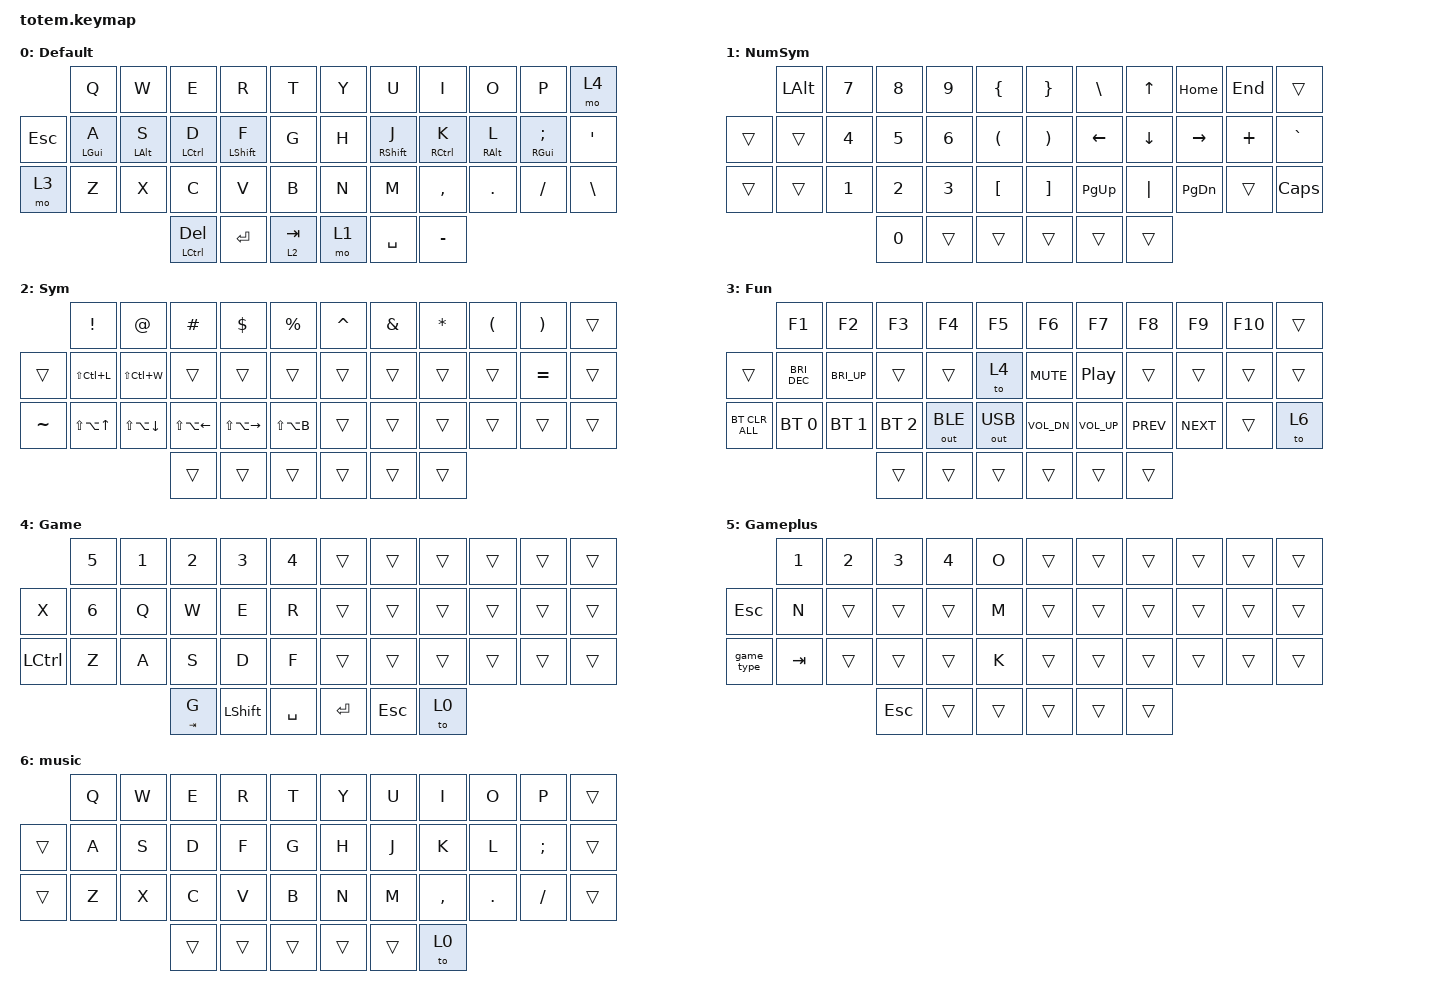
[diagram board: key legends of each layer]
//
//                                                        ▀▀▀▀▀     ▀▀▀▀▀          ▀▀█▀▀
//                                                        ▄▀▀▀▄  ▄  ▄▀▀▀▄  ▄  ▄▀▀▀▄  █  ▄▀▀▀▄
//                                                        █   █  █  █   █  █  █   █  █  █   █
//                                                         ▀▀▀   █   ▀▀▀   █   ▀▀▀   ▀   ▀▀▀
//                                                               █      ▄▄▄█▄▄▄    █   █
//                                                               ▀      █  █  █     █▄█
//                                                             ▀▀▀▀▀    █  █  █      ▀
//                                                                      ▀  ▀  ▀
//
// ▄▄▄▄▄▄▄▄▄▄▄▄▄▄▄▄▄▄▄▄▄▄▄▄▄▄▄▄▄▄▄▄▄▄▄▄▄▄▄▄▄▄▄▄▄▄▄▄▄▄▄▄▄▄▄▄▄▄▄▄▄▄▄▄▄▄▄▄▄▄▄▄▄▄▄▄▄▄▄▄▄▄▄▄▄▄▄▄▄▄▄▄▄▄▄▄▄▄▄▄▄▄▄▄▄▄▄▄▄▄▄▄▄▄▄▄▄▄▄▄▄▄▄▄▄▄▄▄▄▄▄▄▄▄▄▄▄▄▄▄▄▄▄▄▄▄▄▄▄

#include <dt-bindings/zmk/mouse.h>
#include <behaviors.dtsi>
#include <dt-bindings/zmk/bt.h>
#include <dt-bindings/zmk/keys.h>
#include <dt-bindings/zmk/outputs.h>

#define Base        0
#define Media       1
#define Nav         2
#define NumSym      3
#define Game        4
#define Gameplus    5
#define Accent      6

&mt {
    quick-tap-ms = <100>;
    global-quick-tap;
    flavor = "tap-preferred";
    tapping-term-ms = <170>;
};

&lt {
    tapping-term-ms = <240>;
    flavor = "balanced";
    quick-tap-ms = <150>;
};

/ {
    behaviors {
        hm: homerow_mods {
            compatible = "zmk,behavior-hold-tap";
            label = "HOMEROW_MODS";
            #binding-cells = <2>;
            flavor = "balanced";
            tapping-term-ms = <200>;
            bindings = <&kp>, <&kp>;

            quick-tap-ms = <150>;
            require-prior-idle-ms = <200>;
        };

        fsu: flip_shift_underscore {
            compatible = "zmk,behavior-mod-morph";
            label = "FLIP_SHIFT_UNDERSCORE";
            bindings = <&kp UNDER>, <&kp MINUS>;

            #binding-cells = <0>;
            mods = <(MOD_LSFT|MOD_RSFT)>;
        };

        f1s: f1or11 {
            compatible = "zmk,behavior-mod-morph";
            label = "F1OR11";
            bindings = <&kp F1>, <&kp F11>;

            #binding-cells = <0>;
            mods = <(MOD_LSFT|MOD_RSFT)>;
        };

        f2s: f2_or_f12 {
            compatible = "zmk,behavior-mod-morph";
            label = "F2_OR_F12";
            bindings = <&kp F2>, <&kp F12>;

            #binding-cells = <0>;
            mods = <(MOD_LSFT|MOD_RSFT)>;
        };

        sqns: single_quote_no_shift {
            compatible = "zmk,behavior-mod-morph";
            label = "SINGLE_QUOTE_NO_SHIFT";
            bindings = <&kp SQT>, <&kp SQT>;

            #binding-cells = <0>;
            mods = <(MOD_LSFT|MOD_RSFT)>;
        };

        dqns: double_quote_no_shift {
            compatible = "zmk,behavior-mod-morph";
            label = "DOUBLE_QUOTE_NO_SHIFT";
            bindings = <&kp DQT>, <&kp DQT>;

            #binding-cells = <0>;
            mods = <(MOD_LSFT|MOD_RSFT)>;
        };

        eqns: equal_no_shift {
            compatible = "zmk,behavior-mod-morph";
            label = "EQUAL_NO_SHIFT";
            bindings = <&kp EQUAL>, <&kp EQUAL>;

            #binding-cells = <0>;
            mods = <(MOD_LSFT|MOD_RSFT)>;
        };

        df: double_function {
            compatible = "zmk,behavior-hold-tap";
            label = "DOUBLE_FUNCTION";
            bindings = <&kp>, <&kp>;

            #binding-cells = <2>;
            tapping-term-ms = <150>;
        };

        hmaccs: homerow_mods_accent_single {
            compatible = "zmk,behavior-hold-tap";
            label = "HOMEROW_MODS_ACCENT_SINGLE";
            #binding-cells = <2>;
            flavor = "balanced";
            tapping-term-ms = <150>;
            global-quick-tap;
            bindings = <&kp>, <&accs>;
        };

        hmaccd: homerow_mods_accent_double {
            compatible = "zmk,behavior-hold-tap";
            label = "HOMEROW_MODS_ACCENT_DOUBLE";
            #binding-cells = <2>;
            flavor = "balanced";
            tapping-term-ms = <150>;
            global-quick-tap;
            bindings = <&kp>, <&accd>;
        };
    };

    combos {
        compatible = "zmk,combos";

        combo_capsword {
            bindings = <&caps_word>;
            key-positions = <12 21>;
            timeout-ms = <30>;
            require-prior-idle-ms = <50>;
            layers = <0>;
        };

        Backspace {
            bindings = <&kp BACKSPACE>;
            key-positions = <18 19>;
        };

        task {
            bindings = <&kp LC(LA(DEL))>;
            key-positions = <15 14 13>;
        };

        screengrab {
            bindings = <&kp LG(LS(S))>;
            key-positions = <18 19 20>;
        };
    };

    macros {
        cps: copy_shot {
            compatible = "zmk,behavior-macro";
            #binding-cells = <0>;
            bindings = <&kp LG(R) &kp C>;
            label = "COPY_SHOT";
        };

        fsh: full_screen_shot {
            compatible = "zmk,behavior-macro";
            #binding-cells = <0>;
            bindings = <&kp LG(R) &kp F>;
            label = "FULL_SCREEN_SHOT";
        };

        acc: accent {
            compatible = "zmk,behavior-macro-two-param";
            #binding-cells = <2>;
            bindings =
                <&macro_press>,
                <&kp RALT &macro_param_1to1>,
                <&macro_tap>,
                <&kp MACRO_PLACEHOLDER &macro_param_2to1>,
                <&macro_tap>,
                <&kp MACRO_PLACEHOLDER>,
                <&macro_release>,
                <&kp RALT>;
        };

        accs: accent_single_quote {
            compatible = "zmk,behavior-macro-one-param";
            #binding-cells = <1>;
            bindings =
                <&macro_press>,
                <&kp RALT>,
                <&macro_tap>,
                <&sqns &macro_param_1to1 &kp MACRO_PLACEHOLDER>,
                <&macro_release>,
                <&kp RALT>;

            label = "ACCENT_SINGLE_QUOTE";
        };

        accd: accent_double_quote {
            compatible = "zmk,behavior-macro-one-param";
            #binding-cells = <1>;
            bindings =
                <&macro_press>,
                <&kp RALT>,
                <&macro_tap>,
                <&dqns &macro_param_1to1 &kp MACRO_PLACEHOLDER>,
                <&macro_release>,
                <&kp RALT>;

            label = "ACCENT_DOUBLE_QUOTE";
        };

        acce: accent_equal {
            compatible = "zmk,behavior-macro-one-param";
            #binding-cells = <1>;
            bindings =
                <&macro_press>,
                <&kp RALT>,
                <&macro_tap>,
                <&eqns &macro_param_1to1 &kp MACRO_PLACEHOLDER>,
                <&macro_release>,
                <&kp RALT>;

            label = "ACCENT_EQUAL";
        };

        game_type: game_type {
            compatible = "zmk,behavior-macro";
            #binding-cells = <0>;
            bindings = <&kp ENTER &to 0>;
            label = "GAME_TYPE";
        };

        game_type_exit: game_type_exit {
            compatible = "zmk,behavior-macro-one-param";
            #binding-cells = <1>;
            bindings = <&macro_param_1to1 &kp MACRO_PLACEHOLDER &to 4>;
            label = "GAME_TYPE_EXIT";
        };
    };

    keymap {
        compatible = "zmk,keymap";

        QWERTY {
            label = "Default";
            bindings = <
         &kp Q           &kp W           &kp E                    &kp R             &kp T        &kp Y  &kp U              &kp I                &kp O            &kp P               &mo 4
&kp ESC  &hm LEFT_GUI A  &hm LEFT_ALT S  &hm LEFT_CONTROL D       &mt LEFT_SHIFT F  &kp G        &kp H  &mt RIGHT_SHIFT J  &hm RIGHT_CONTROL K  &hm RIGHT_ALT L  &hm RIGHT_GUI SEMI  &kp APOS
&mo 3    &kp Z           &kp X           &kp C                    &kp V             &kp B        &kp N  &kp M              &kp COMMA            &kp DOT          &kp SLASH           &kp BACKSLASH
                                         &mt LEFT_CONTROL DELETE  &kp ENTER         &lt 2 TAB    &mo 1  &kp SPACE          &kp MINUS
            >;
        };

        NumArr {
            label = "NumSym";
            bindings = <
        &kp LEFT_ALT  &kp NUMBER_7  &kp NUMBER_8  &kp NUMBER_9  &kp LEFT_BRACE          &kp RIGHT_BRACE        &kp BACKSLASH  &kp UP    &kp HOME       &kp END   &trans
&trans  &trans        &kp NUMBER_4  &kp NUMBER_5  &kp NUMBER_6  &kp LEFT_PARENTHESIS    &kp RIGHT_PARENTHESIS  &kp LEFT       &kp DOWN  &kp RIGHT      &kp PLUS  &kp GRAVE
&trans  &trans        &kp NUMBER_1  &kp NUMBER_2  &kp NUMBER_3  &kp LEFT_BRACKET        &kp RIGHT_BRACKET      &kp PAGE_UP    &kp PIPE  &kp PAGE_DOWN  &trans    &kp CAPS
                                    &kp NUMBER_0  &trans        &trans                  &trans                 &trans         &trans
            >;
        };

        Sym {
            label = "Sym";
            bindings = <
           &kp EXCL        &kp AT            &kp HASH          &kp DOLLAR         &kp PERCENT      &kp CARET  &kp AMPERSAND  &kp ASTERISK  &kp LEFT_PARENTHESIS  &kp RIGHT_PARENTHESIS  &trans
&trans     &kp LS(LC(L))   &kp LS(LC(W))     &trans            &trans             &trans           &trans     &trans         &trans        &trans                &kp EQUAL              &trans
&kp TILDE  &kp LS(LA(UP))  &kp LS(LA(DOWN))  &kp LS(LA(LEFT))  &kp LS(LA(RIGHT))  &kp LS(LA(B))    &trans     &trans         &trans        &trans                &trans                 &trans
                                             &trans            &trans             &trans           &trans     &trans         &trans
            >;
        };

        Fun {
            bindings = <
                &kp F1         &kp F2        &kp F3        &kp F4        &kp F5          &kp F6        &kp F7            &kp F8      &kp F9      &kp F10  &trans
&trans          &kp C_BRI_DEC  &kp C_BRI_UP  &trans        &trans        &to 4           &kp K_MUTE    &kp C_PLAY_PAUSE  &trans      &trans      &trans   &trans
&bt BT_CLR_ALL  &bt BT_SEL 0   &bt BT_SEL 1  &bt BT_SEL 2  &out OUT_BLE  &out OUT_USB    &kp C_VOL_DN  &kp C_VOL_UP      &kp C_PREV  &kp C_NEXT  &trans   &to 6
                                             &trans        &trans        &trans          &trans        &trans            &trans
            >;

            label = "Fun";
        };

        Game {
            label = "Game";
            bindings = <
                  &kp NUMBER_5  &kp NUMBER_1  &kp N2     &kp NUMBER_3    &kp NUMBER_4    &trans     &trans      &trans  &trans  &trans  &trans
&kp X             &kp NUMBER_6  &kp Q         &kp W      &kp E           &kp R           &trans     &trans      &trans  &trans  &trans  &trans
&kp LEFT_CONTROL  &kp Z         &kp A         &kp S      &kp D           &kp F           &trans     &trans      &trans  &trans  &trans  &trans
                                              &df TAB G  &kp LEFT_SHIFT  &kp SPACE       &kp ENTER  &kp ESCAPE  &to 0
            >;
        };

        Gameplus {
            label = "Gameplus";
            bindings = <
            &kp NUMBER_1  &kp NUMBER_2  &kp NUMBER_3  &kp NUMBER_4  &kp O     &trans  &trans  &trans  &trans  &trans  &trans
&kp ESC     &kp N         &trans        &trans        &trans        &kp M     &trans  &trans  &trans  &trans  &trans  &trans
&game_type  &kp TAB       &trans        &trans        &trans        &kp K     &trans  &trans  &trans  &trans  &trans  &trans
                                        &kp ESCAPE    &trans        &trans    &trans  &trans  &trans
            >;
        };

        musicType {
            label = "music";
            bindings = <
        &kp Q  &kp W  &kp E   &kp R   &kp T     &kp Y   &kp U   &kp I      &kp O       &kp P          &trans
&trans  &kp A  &kp S  &kp D   &kp F   &kp G     &kp H   &kp J   &kp K      &kp L       &kp SEMICOLON  &trans
&trans  &kp Z  &kp X  &kp C   &kp V   &kp B     &kp N   &kp M   &kp COMMA  &kp PERIOD  &kp SLASH      &trans
                      &trans  &trans  &trans    &trans  &trans  &to 0
            >;
        };
    };
};
